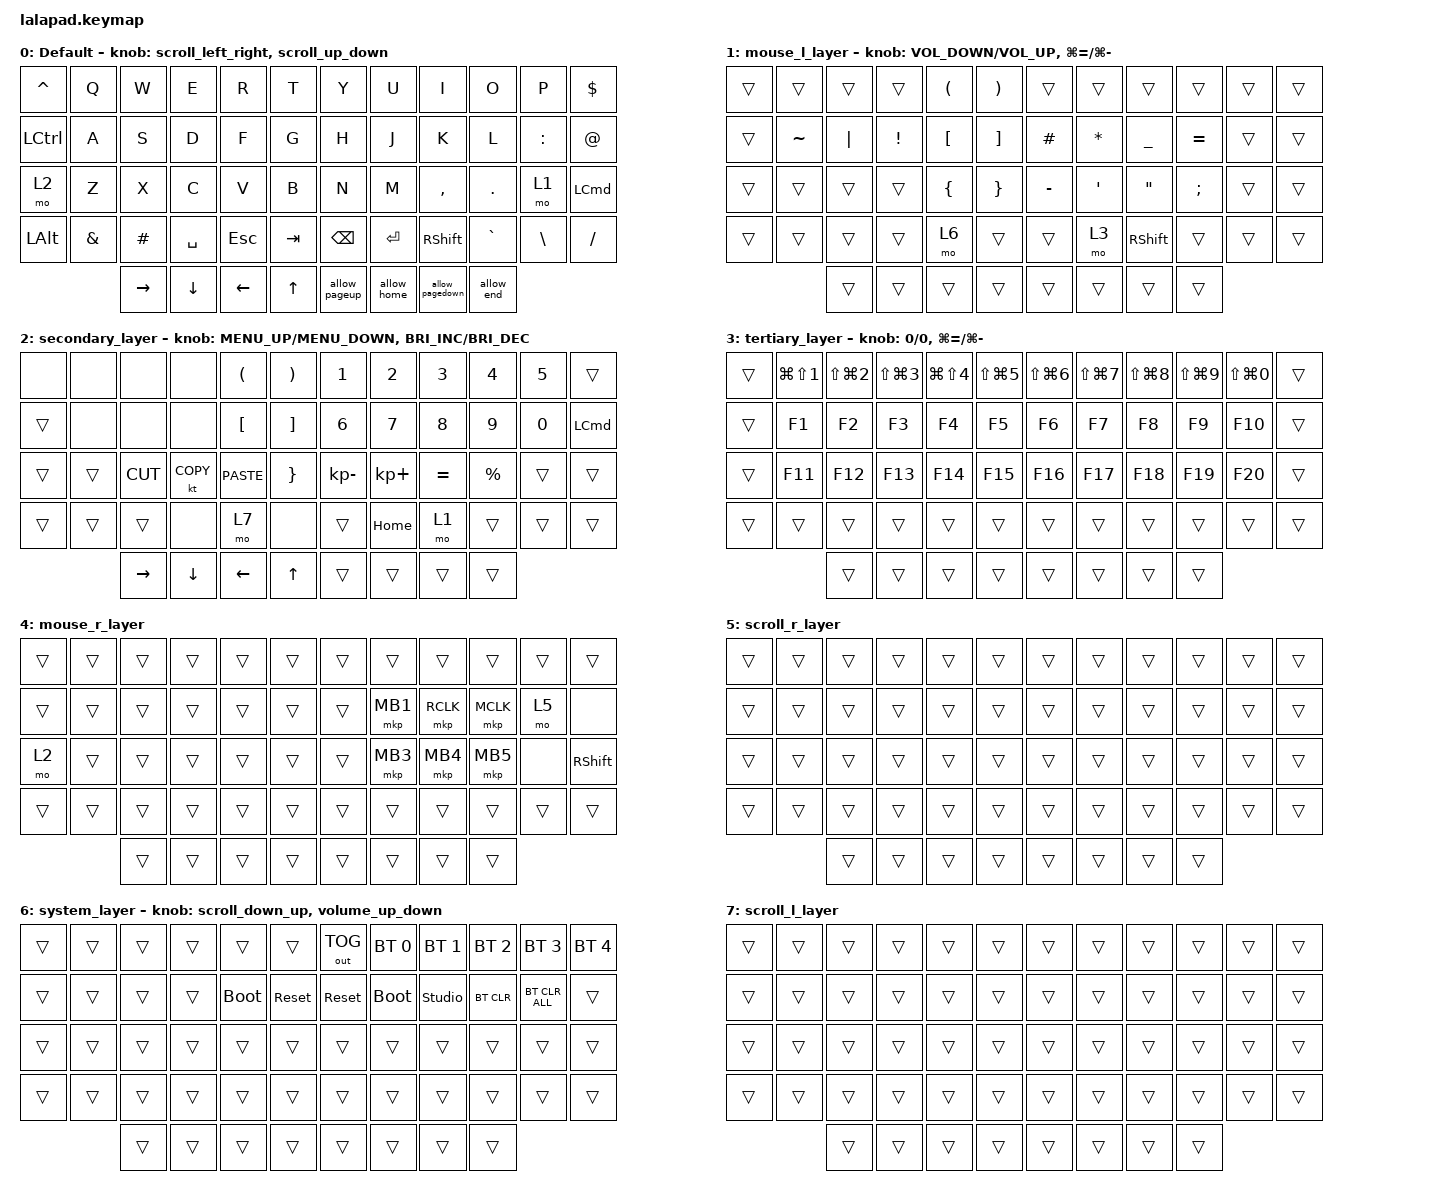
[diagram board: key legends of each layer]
#include <input/processors.dtsi>
#include <behaviors.dtsi>
#include <dt-bindings/zmk/bt.h>
#include <dt-bindings/zmk/keys.h>
#include <dt-bindings/zmk/outputs.h>
#include <dt-bindings/zmk/pointing.h>

#define DEFAULT_LAYER   0
#define SECONDARY_LAYER 1
#define TERTIARY_LAYER  2
#define SYSTEM_LAYER    3
#define MOUSE_R_LAYER   4
#define SCROLL_R_LAYER  5
#define MOUSE_L_LAYER   6
#define SCROLL_L_LAYER  7

// Mouse Scroll Value

#define ZMK_POINTING_DEFAULT_SCRL_VAL 100

// cirque trackpad input&layer control

&glidepoint_listener_R {
    input-processors =
        <&zip_xy_transform (INPUT_TRANSFORM_XY_SWAP | INPUT_TRANSFORM_X_INVERT | INPUT_TRANSFORM_Y_INVERT)>,
        <&zip_xy_scaler 3 2>,
        <&zip_temp_layer MOUSE_R_LAYER 500>;

    lowspeedmode {
        layers = <SECONDARY_LAYER>;
        input-processors =
            <&zip_xy_transform (INPUT_TRANSFORM_XY_SWAP | INPUT_TRANSFORM_X_INVERT | INPUT_TRANSFORM_Y_INVERT)>,
            <&zip_xy_scaler 3 5>,
            <&zip_temp_layer MOUSE_R_LAYER 500>;
    };

    scroller {
        layers = <SCROLL_R_LAYER>;
        input-processors =
            <&zip_xy_to_scroll_mapper>,
            <&zip_scroll_transform (INPUT_TRANSFORM_XY_SWAP)>,
            <&zip_scroll_scaler 1 8>;
    };
};

&glidepoint_listener_L {
    input-processors =
        <&zip_xy_transform (INPUT_TRANSFORM_XY_SWAP | INPUT_TRANSFORM_X_INVERT | INPUT_TRANSFORM_Y_INVERT)>,
        <&zip_xy_scaler 3 2>,
        <&zip_temp_layer MOUSE_L_LAYER 500>;

    lowspeedmode {
        layers = <SECONDARY_LAYER>;
        input-processors =
            <&zip_xy_transform (INPUT_TRANSFORM_XY_SWAP | INPUT_TRANSFORM_X_INVERT | INPUT_TRANSFORM_Y_INVERT)>,
            <&zip_xy_scaler 3 4>,
            <&zip_temp_layer MOUSE_L_LAYER 500>;
    };

    scroller {
        layers = <SCROLL_L_LAYER>;
        input-processors =
            <&zip_xy_to_scroll_mapper>,
            <&zip_scroll_transform (INPUT_TRANSFORM_XY_SWAP | INPUT_TRANSFORM_Y_INVERT)>,
            <&zip_scroll_scaler 1 6>;
    };
};

/ {
    behaviors {
        // Encoder to Mouse Scroll

        scroll_up_down: behavior_sensor_rotate_mouse_wheel_up_down {
            compatible = "zmk,behavior-sensor-rotate";
            #sensor-binding-cells = <0>;
            bindings = <&msc SCRL_UP>, <&msc SCRL_DOWN>;

            tap-ms = <20>;
        };

        scroll_down_up: behavior_sensor_rotate_mouse_wheel_down_up {
            compatible = "zmk,behavior-sensor-rotate";
            #sensor-binding-cells = <0>;
            bindings = <&msc SCRL_DOWN>, <&msc SCRL_UP>;

            tap-ms = <20>;
        };

        scroll_left_right: behavior_sensor_rotate_mouse_wheel_left_right {
            compatible = "zmk,behavior-sensor-rotate";
            #sensor-binding-cells = <0>;
            bindings = <&msc SCRL_LEFT>, <&msc SCRL_RIGHT>;

            tap-ms = <20>;
        };

        scroll_right_left: behavior_sensor_rotate_mouse_wheel_right_left {
            compatible = "zmk,behavior-sensor-rotate";
            #sensor-binding-cells = <0>;
            bindings = <&msc SCRL_RIGHT>, <&msc SCRL_LEFT>;

            tap-ms = <20>;
        };

        volume_up_down: behavior_sensor_rotate_volume_up_down {
            compatible = "zmk,behavior-sensor-rotate";
            #sensor-binding-cells = <0>;
            bindings = <&kp C_VOLUME_UP>, <&kp C_VOLUME_DOWN>;

            tap-ms = <20>;
        };

        dot_comma: dot_comma {
            compatible = "zmk,behavior-mod-morph";
            #binding-cells = <0>;
            bindings = <&kp KP_DOT>, <&kp COMMA>;

            mods = <(MOD_LSFT|MOD_RSFT)>;
            label = "DOT_COMMA";
        };

        pls_minus: pls_minus {
            compatible = "zmk,behavior-mod-morph";
            #binding-cells = <0>;
            bindings = <&kp PLUS>, <&kp MINUS>;

            mods = <(MOD_LSFT|MOD_RSFT)>;
            label = "PLS_MINUS";
        };

        allow_pageup: allow_pageup {
            compatible = "zmk,behavior-mod-morph";
            #binding-cells = <0>;
            bindings = <&kp UP>, <&kp PAGE_UP>;

            mods = <(MOD_LCTL|MOD_RCTL)>;
            label = "ALLOW_PAGEUP";
        };

        allow_pagedown: allow_pagedown {
            compatible = "zmk,behavior-mod-morph";
            #binding-cells = <0>;
            bindings = <&kp DOWN>, <&kp PAGE_DOWN>;

            mods = <(MOD_LCTL|MOD_RCTL)>;
            label = "ALLOW_PAGEDOWN";
        };

        allow_home: allow_home {
            compatible = "zmk,behavior-mod-morph";
            #binding-cells = <0>;
            bindings = <&kp LEFT>, <&kp HOME>;

            mods = <(MOD_LCTL|MOD_RCTL)>;
            label = "ALLOW_HOME";
        };

        allow_end: allow_end {
            compatible = "zmk,behavior-mod-morph";
            #binding-cells = <0>;
            bindings = <&kp RIGHT>, <&kp END>;

            mods = <(MOD_LCTL|MOD_RCTL)>;
            label = "ALLOW_END";
        };

        mt2: mod_tap2 {
            compatible = "zmk,behavior-hold-tap";
            #binding-cells = <2>;
            flavor = "tap-preferred";
            tapping-term-ms = <200>;
            quick-tap-ms = <200>;
            require-prior-idle-ms = <125>;
            bindings = <&kp>, <&kp>;
        };
    };

    keymap {
        compatible = "zmk,keymap";

        DEFAULT_LAYER {
            display-name = "Default";
            sensor-bindings = <&scroll_left_right>, <&scroll_up_down>;

            bindings = <
&kp CARET         &kp Q          &kp W            &kp E           &kp R           &kp T         &kp Y          &kp U        &kp I            &kp O       &kp P          &kp DOLLAR
&kp LEFT_CONTROL  &kp A          &kp S            &kp D           &kp F           &kp G         &kp H          &kp J        &kp K            &kp L       &kp COLON      &kp AT_SIGN
&mo 2             &kp Z          &kp X            &kp C           &kp V           &kp B         &kp N          &kp M        &kp COMMA        &kp PERIOD  &mo 1          &kp LEFT_COMMAND
&kp LEFT_ALT      &kp AMPERSAND  &kp HASH         &kp SPACE       &kp ESCAPE      &kp TAB       &kp BACKSPACE  &kp ENTER    &kp RIGHT_SHIFT  &kp GRAVE   &kp BACKSLASH  &kp SLASH
                                 &kp RIGHT_ARROW  &kp DOWN_ARROW  &kp LEFT_ARROW  &kp UP_ARROW  &allow_pageup  &allow_home  &allow_pagedown  &allow_end
            >;
        };

        MARKS_LAYER {
            display-name = "mouse_l_layer";
            bindings = <
&trans  &trans     &trans    &trans    &kp LEFT_PARENTHESIS  &kp RIGHT_PARENTHESIS  &trans     &trans     &trans             &trans     &trans  &trans
&trans  &kp TILDE  &kp PIPE  &kp EXCL  &kp LEFT_BRACKET      &kp RIGHT_BRACKET      &kp HASH   &kp ASTRK  &kp UNDER          &kp EQUAL  &trans  &trans
&trans  &trans     &trans    &trans    &kp LEFT_BRACE        &kp RIGHT_BRACE        &kp MINUS  &kp SQT    &kp DOUBLE_QUOTES  &kp SEMI   &trans  &trans
&trans  &trans     &trans    &trans    &mo 6                 &trans                 &trans     &mo 3      &kp RIGHT_SHIFT    &trans     &trans  &trans
                   &trans    &trans    &trans                &trans                 &trans     &trans     &trans             &trans
            >;

            sensor-bindings =
                <&inc_dec_kp C_VOLUME_DOWN C_VOLUME_UP>,
                <&inc_dec_kp LG(EQUAL) LG(MINUS)>;
        };

        SECONDARY_LAYER {
            display-name = "secondary_layer";
            sensor-bindings =
                <&inc_dec_kp C_MENU_UP C_MENU_DOWN>,
                <&inc_dec_kp C_BRI_INC C_BRI_DEC>;

            bindings = <
&none   &none   &none      &none       &kp LEFT_PARENTHESIS  &kp RIGHT_PARENTHESIS  &kp NUMBER_1     &kp NUMBER_2  &kp NUMBER_3  &kp NUMBER_4  &kp NUMBER_5  &trans
&trans  &none   &none      &none       &kp LEFT_BRACKET      &kp RIGHT_BRACKET      &kp NUMBER_6     &kp NUMBER_7  &kp NUMBER_8  &kp NUMBER_9  &kp NUMBER_0  &kp LEFT_COMMAND
&trans  &trans  &kp K_CUT  &kt K_COPY  &kp K_PASTE           &kp RIGHT_BRACE        &kp KP_SUBTRACT  &kp KP_PLUS   &kp EQUAL     &kp PERCENT   &trans        &trans
&trans  &trans  &trans     &none       &mo 7                 &none                  &trans           &kp HOME      &mo 1         &trans        &trans        &trans
                &kp RIGHT  &kp DOWN    &kp LEFT              &kp UP                 &trans           &trans        &trans        &trans
            >;
        };

        TERTIARY_LAYER {
            display-name = "tertiary_layer";
            bindings = <
&trans  &kp LG(LS(NUMBER_1))  &kp LS(LG(NUMBER_2))  &kp LS(LG(NUMBER_3))  &kp LG(LS(NUMBER_4))  &kp LS(LG(N5))  &kp LS(LG(NUMBER_6))  &kp LS(LG(NUMBER_7))  &kp LS(LG(NUMBER_8))  &kp LS(LG(NUMBER_9))  &kp LS(LG(NUMBER_0))  &trans
&trans  &kp F1                &kp F2                &kp F3                &kp F4                &kp F5          &kp F6                &kp F7                &kp F8                &kp F9                &kp F10               &trans
&trans  &kp F11               &kp F12               &kp F13               &kp F14               &kp F15         &kp F16               &kp F17               &kp F18               &kp F19               &kp F20               &trans
&trans  &trans                &trans                &trans                &trans                &trans          &trans                &trans                &trans                &trans                &trans                &trans
                              &trans                &trans                &trans                &trans          &trans                &trans                &trans                &trans
            >;

            sensor-bindings =
                <&inc_dec_kp 0 0>,
                <&inc_dec_kp LG(EQUAL) LG(MINUS)>;
        };

        MOUSE_R_LAYER {
            display-name = "mouse_r_layer";
            bindings = <
&trans  &trans  &trans  &trans  &trans  &trans  &trans  &trans    &trans     &trans     &trans  &trans
&trans  &trans  &trans  &trans  &trans  &trans  &trans  &mkp MB1  &mkp RCLK  &mkp MCLK  &mo 5   &none
&mo 2   &trans  &trans  &trans  &trans  &trans  &trans  &mkp MB3  &mkp MB4   &mkp MB5   &none   &kp RIGHT_SHIFT
&trans  &trans  &trans  &trans  &trans  &trans  &trans  &trans    &trans     &trans     &trans  &trans
                &trans  &trans  &trans  &trans  &trans  &trans    &trans     &trans
            >;
        };

        SCROLL_R_LAYER {
            display-name = "scroll_r_layer";
            bindings = <
&trans  &trans  &trans  &trans  &trans  &trans  &trans  &trans  &trans  &trans  &trans  &trans
&trans  &trans  &trans  &trans  &trans  &trans  &trans  &trans  &trans  &trans  &trans  &trans
&trans  &trans  &trans  &trans  &trans  &trans  &trans  &trans  &trans  &trans  &trans  &trans
&trans  &trans  &trans  &trans  &trans  &trans  &trans  &trans  &trans  &trans  &trans  &trans
                &trans  &trans  &trans  &trans  &trans  &trans  &trans  &trans
            >;
        };

        SYSTEM_LAYER {
            display-name = "system_layer";
            sensor-bindings = <&scroll_down_up>, <&volume_up_down>;

            bindings = <
&trans  &trans  &trans  &trans  &trans       &trans      &out OUT_TOG  &bt BT_SEL 0  &bt BT_SEL 1    &bt BT_SEL 2  &bt BT_SEL 3    &bt BT_SEL 4
&trans  &trans  &trans  &trans  &bootloader  &sys_reset  &sys_reset    &bootloader   &studio_unlock  &bt BT_CLR    &bt BT_CLR_ALL  &trans
&trans  &trans  &trans  &trans  &trans       &trans      &trans        &trans        &trans          &trans        &trans          &trans
&trans  &trans  &trans  &trans  &trans       &trans      &trans        &trans        &trans          &trans        &trans          &trans
                &trans  &trans  &trans       &trans      &trans        &trans        &trans          &trans
            >;
        };

        SCROLL_L_LAYER {
            display-name = "scroll_l_layer";
            bindings = <
&trans  &trans  &trans  &trans  &trans  &trans  &trans  &trans  &trans  &trans  &trans  &trans
&trans  &trans  &trans  &trans  &trans  &trans  &trans  &trans  &trans  &trans  &trans  &trans
&trans  &trans  &trans  &trans  &trans  &trans  &trans  &trans  &trans  &trans  &trans  &trans
&trans  &trans  &trans  &trans  &trans  &trans  &trans  &trans  &trans  &trans  &trans  &trans
                &trans  &trans  &trans  &trans  &trans  &trans  &trans  &trans
            >;
        };
    };
};
